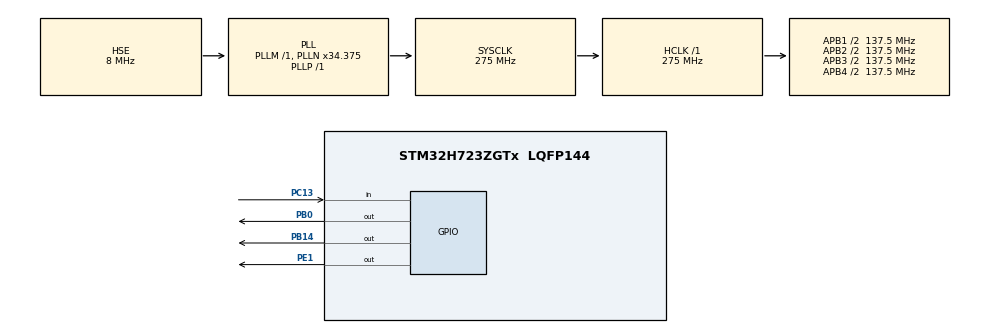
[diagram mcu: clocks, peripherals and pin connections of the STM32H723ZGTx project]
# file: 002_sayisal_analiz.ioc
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CORTEX_M7.default_mode_Activation=1
Mcu.Family=STM32H7
Mcu.Name=STM32H723ZGTx
Mcu.Package=LQFP144
NUCLEO-H723ZG.BUTTON=1
NUCLEO-H723ZG.LD1=true
NUCLEO-H723ZG.LD2=true
NUCLEO-H723ZG.LD3=true
NUCLEO-H723ZG.VCP=true
NVIC.EXTI15_10_IRQn=true\:0\:0\:false\:false\:true\:false\:true\:true
NVIC.PriorityGroup=NVIC_PRIORITYGROUP_4
PA13(JTMS/SWDIO).GPIO_Label=SWDIO
PA13(JTMS/SWDIO).Signal=DEBUG_JTMS-SWDIO
PA14(JTCK/SWCLK).GPIO_Label=SWCLK
PA14(JTCK/SWCLK).Signal=DEBUG_JTCK-SWCLK
PB0.Signal=GPIO_Output
PB14.Signal=GPIO_Output
PC13.Signal=GPIO_Input
PC14-OSC32_IN.Signal=RCC_OSC32_IN
PC15-OSC32_OUT.Signal=RCC_OSC32_OUT
PD8.Signal=USART3_TX
PD9.Signal=USART3_RX
PE1.Signal=GPIO_Output
PH0-OSC_IN.Mode=HSE-External-Oscillator
PH0-OSC_IN.Signal=RCC_OSC_IN
PH1-OSC_OUT.Mode=HSE-External-Oscillator
PH1-OSC_OUT.Signal=RCC_OSC_OUT
ProjectManager.HeapSize=0x200
ProjectManager.StackSize=0x400
ProjectManager.TargetToolchain=STM32CubeIDE
RCC.ADCFreq_Value=76000000
RCC.APB1Freq_Value=137500000
RCC.APB2Freq_Value=137500000
RCC.APB3Freq_Value=137500000
RCC.APB4Freq_Value=137500000
RCC.CortexFreq_Value=275000000
RCC.D1PPRE=RCC_APB3_DIV2
RCC.D2PPRE1=RCC_APB1_DIV2
RCC.D2PPRE2=RCC_APB2_DIV2
RCC.D3PPRE=RCC_APB4_DIV2
RCC.DIVM1=1
RCC.DIVM2=1
RCC.DIVN1=34
RCC.DIVN2=19
RCC.DIVP1=1
RCC.DIVQ1=4
RCC.HCLKFreq_Value=275000000
RCC.HSE_VALUE=8000000
RCC.PLLFRACN=3072
RCC.PLLSourceVirtual=RCC_PLLSOURCE_HSE
RCC.SYSCLKFreq_VALUE=275000000
RCC.SYSCLKSource=RCC_SYSCLKSOURCE_PLLCLK
RCC.USBCLockSelection=RCC_USBCLKSOURCE_HSI48
RCC.USBFreq_Value=48000000
VP_MEMORYMAP_VS_MEMORYMAP.Mode=CurAppReg
VP_NUCLEO-H723ZG_VS_BSP_COMMON.Mode=COMMON
board=NUCLEO-H723ZG

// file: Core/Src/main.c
/* USER CODE BEGIN Header */
/**
  ******************************************************************************
  * @file           : main.c
  * @brief          : Main program body
  ******************************************************************************
  * @attention
  *
  * Copyright (c) 2025 STMicroelectronics.
  * All rights reserved.
  *
  * This software is licensed under terms that can be found in the LICENSE file
  * in the root directory of this software component.
  * If no LICENSE file comes with this software, it is provided AS-IS.
  *
  ******************************************************************************
  */
/* USER CODE END Header */
#include "main.h"

/* USER CODE BEGIN Includes */
#include "math.h"

/* USER CODE END Includes */

COM_InitTypeDef BspCOMInit;

void SystemClock_Config(void);
static void MPU_Config(void);
static void MX_GPIO_Init(void);

/* USER CODE BEGIN 0 */
//Fizik sabitleri
#define G 9.81

// Başlangıç parametreleri
double v0 = 50.0;      // ilk hız (m/s)
double theta_deg = 75.0; // atış açısı (derece)
double y0x =10.00000;         // ilk yükseklik (m)

double to_radian(double deg) {
    return deg * M_PI / 180.0;
}

// Yükseklik fonksiyonu
double f(double t) {
    double theta = to_radian(theta_deg);
    return y0x + v0 * sin(theta) * t - 0.5 * G * t * t;
}

// Bisection Method with relative error
double bisection(double a, double b, double tol, int max_iter) {
    double c_old = 0.0, c_new = 0.0;
    double rel_error = 1.0;
    int iter = 0;

    if (f(a) * f(b) >= 0) {
        printf("Hata: f(a) ve f(b) zıt işaretli olmalı.\r\n");
        return 0.0;
    }

    while (rel_error > tol && iter < max_iter) {
        c_new = (a + b) / 2.0;

        if (iter > 0)
            rel_error = fabs((c_new - c_old) / c_new);

        if (f(c_new) == 0.0)
            break;

        if (f(a) * f(c_new) < 0)
            b = c_new;
        else
            a = c_new;

        c_old = c_new;
        iter++;
    }

    printf("Iterasyon: %d, Bagil Hata: %.8f\r\n", iter, rel_error);
    return c_new;
}

#define G 9.81

typedef struct {
    double x;
    double y;
    double vx;
    double vy;
} State;

// dx/dt
double dx_dt(State s) { return s.vx; }
// dy/dt
double dy_dt(State s) { return s.vy; }
// dvx/dt
double dvx_dt(State s) { return 0.0; }
// dvy/dt
double dvy_dt(State s) { return -G; }

int denemeRunge(void) {

    double dt = 0.01;        // zaman adımı
    int max_steps = 100000;

    double theta = theta_deg * M_PI / 180.0;

    State s;
    s.x = 0.0;
    s.y = y0x;
    s.vx = v0 * cosf(theta);
    s.vy = v0 * sinf(theta);

    int step = 0;

    while (s.y > 0 && step < max_steps) {
        State k1, k2, k3, k4, s_temp;

        // k1
        k1.x  = dx_dt(s);
        k1.y  = dy_dt(s);
        k1.vx = dvx_dt(s);
        k1.vy = dvy_dt(s);

        // k2
        s_temp.x  = s.x  + 0.5 * dt * k1.x;
        s_temp.y  = s.y  + 0.5 * dt * k1.y;
        s_temp.vx = s.vx + 0.5 * dt * k1.vx;
        s_temp.vy = s.vy + 0.5 * dt * k1.vy;

        k2.x  = dx_dt(s_temp);
        k2.y  = dy_dt(s_temp);
        k2.vx = dvx_dt(s_temp);
        k2.vy = dvy_dt(s_temp);

        // k3
        s_temp.x  = s.x  + 0.5 * dt * k2.x;
        s_temp.y  = s.y  + 0.5 * dt * k2.y;
        s_temp.vx = s.vx + 0.5 * dt * k2.vx;
        s_temp.vy = s.vy + 0.5 * dt * k2.vy;

        k3.x  = dx_dt(s_temp);
        k3.y  = dy_dt(s_temp);
        k3.vx = dvx_dt(s_temp);
        k3.vy = dvy_dt(s_temp);

        // k4
        s_temp.x  = s.x  + dt * k3.x;
        s_temp.y  = s.y  + dt * k3.y;
        s_temp.vx = s.vx + dt * k3.vx;
        s_temp.vy = s.vy + dt * k3.vy;

        k4.x  = dx_dt(s_temp);
        k4.y  = dy_dt(s_temp);
        k4.vx = dvx_dt(s_temp);
        k4.vy = dvy_dt(s_temp);

        // RK4
        s.x  += dt/6.0 * (k1.x + 2*k2.x + 2*k3.x + k4.x);
        s.y  += dt/6.0 * (k1.y + 2*k2.y + 2*k3.y + k4.y);
        s.vx += dt/6.0 * (k1.vx + 2*k2.vx + 2*k3.vx + k4.vx);
        s.vy += dt/6.0 * (k1.vy + 2*k2.vy + 2*k3.vy + k4.vy);

        step++;
    }

    printf("iterasyon: %d s\r\n", step);
    printf("Dusme sures: %.6f s\r\n", dt*step);
    printf("Dusme mesafesi: %.6f m\r\n", s.x);

return 0;
}
/* USER CODE END 0 */

int main(void)
{

  /* MPU Configuration--------------------------------------------------------*/
  MPU_Config();

  /* MCU Configuration--------------------------------------------------------*/

  /* Reset of all peripherals, Initializes the Flash interface and the Systick. */
  HAL_Init();

  /* Configure the system clock */
  SystemClock_Config();

  /* Initialize all configured peripherals */
  MX_GPIO_Init();

  /* Initialize leds */
  BSP_LED_Init(LED_GREEN);
  BSP_LED_Init(LED_YELLOW);
  BSP_LED_Init(LED_RED);

  /* Initialize USER push-button, will be used to trigger an interrupt each time it's pressed.*/
  BSP_PB_Init(BUTTON_USER, BUTTON_MODE_EXTI);

  /* Initialize COM1 port (115200, 8 bits (7-bit data + 1 stop bit), no parity */
  BspCOMInit.BaudRate   = 115200;
  BspCOMInit.WordLength = COM_WORDLENGTH_8B;
  BspCOMInit.StopBits   = COM_STOPBITS_1;
  BspCOMInit.Parity     = COM_PARITY_NONE;
  BspCOMInit.HwFlowCtl  = COM_HWCONTROL_NONE;
  if (BSP_COM_Init(COM1, &BspCOMInit) != BSP_ERROR_NONE)
  {
    Error_Handler();
  }
  double t_dusme = bisection(0.0,400, 1e-6, 100); // 0-5 saniye aralığında ara
  double theta = to_radian(theta_deg);

  double x_dusme = v0 * cos(theta) * t_dusme; // menzil
  printf("\r\n--- EGIK ATIS SONUCLARI ---\r\n");
  printf("\r\n--- Biscetion SONUCLARI ---\r\n");
  printf("\r\nDusme suresi: %.6f s\r\n", t_dusme);
  printf("\r\nDusme mesafesi: %.6f m\r\n", x_dusme);

  printf("\n--- Runge ---\n");
  denemeRunge();

  /* Infinite loop */
  while (1)
  {

  }
}

void SystemClock_Config(void)
{
  RCC_OscInitTypeDef RCC_OscInitStruct = {0};
  RCC_ClkInitTypeDef RCC_ClkInitStruct = {0};

  /** Supply configuration update enable
  */
  HAL_PWREx_ConfigSupply(PWR_LDO_SUPPLY);

  /** Configure the main internal regulator output voltage
  */
  __HAL_PWR_VOLTAGESCALING_CONFIG(PWR_REGULATOR_VOLTAGE_SCALE0);

  while(!__HAL_PWR_GET_FLAG(PWR_FLAG_VOSRDY)) {}

  /** Initializes the RCC Oscillators according to the specified parameters
  * in the RCC_OscInitTypeDef structure.
  */
  RCC_OscInitStruct.OscillatorType = RCC_OSCILLATORTYPE_HSE;
  RCC_OscInitStruct.HSEState = RCC_HSE_ON;
  RCC_OscInitStruct.PLL.PLLState = RCC_PLL_ON;
  RCC_OscInitStruct.PLL.PLLSource = RCC_PLLSOURCE_HSE;
  RCC_OscInitStruct.PLL.PLLM = 1;
  RCC_OscInitStruct.PLL.PLLN = 34;
  RCC_OscInitStruct.PLL.PLLP = 1;
  RCC_OscInitStruct.PLL.PLLQ = 4;
  RCC_OscInitStruct.PLL.PLLR = 2;
  RCC_OscInitStruct.PLL.PLLRGE = RCC_PLL1VCIRANGE_3;
  RCC_OscInitStruct.PLL.PLLVCOSEL = RCC_PLL1VCOWIDE;
  RCC_OscInitStruct.PLL.PLLFRACN = 3072;
  if (HAL_RCC_OscConfig(&RCC_OscInitStruct) != HAL_OK)
  {
    Error_Handler();
  }

  /** Initializes the CPU, AHB and APB buses clocks
  */
  RCC_ClkInitStruct.ClockType = RCC_CLOCKTYPE_HCLK|RCC_CLOCKTYPE_SYSCLK
                              |RCC_CLOCKTYPE_PCLK1|RCC_CLOCKTYPE_PCLK2
                              |RCC_CLOCKTYPE_D3PCLK1|RCC_CLOCKTYPE_D1PCLK1;
  RCC_ClkInitStruct.SYSCLKSource = RCC_SYSCLKSOURCE_PLLCLK;
  RCC_ClkInitStruct.SYSCLKDivider = RCC_SYSCLK_DIV1;
  RCC_ClkInitStruct.AHBCLKDivider = RCC_HCLK_DIV1;
  RCC_ClkInitStruct.APB3CLKDivider = RCC_APB3_DIV2;
  RCC_ClkInitStruct.APB1CLKDivider = RCC_APB1_DIV2;
  RCC_ClkInitStruct.APB2CLKDivider = RCC_APB2_DIV2;
  RCC_ClkInitStruct.APB4CLKDivider = RCC_APB4_DIV2;

  if (HAL_RCC_ClockConfig(&RCC_ClkInitStruct, FLASH_LATENCY_3) != HAL_OK)
  {
    Error_Handler();
  }
}

static void MX_GPIO_Init(void)
{

  /* GPIO Ports Clock Enable */
  __HAL_RCC_GPIOC_CLK_ENABLE();
  __HAL_RCC_GPIOH_CLK_ENABLE();
  __HAL_RCC_GPIOA_CLK_ENABLE();

}

 /* MPU Configuration */

void MPU_Config(void)
{
  MPU_Region_InitTypeDef MPU_InitStruct = {0};

  /* Disables the MPU */
  HAL_MPU_Disable();

  /** Initializes and configures the Region and the memory to be protected
  */
  MPU_InitStruct.Enable = MPU_REGION_ENABLE;
  MPU_InitStruct.Number = MPU_REGION_NUMBER0;
  MPU_InitStruct.BaseAddress = 0x0;
  MPU_InitStruct.Size = MPU_REGION_SIZE_4GB;
  MPU_InitStruct.SubRegionDisable = 0x87;
  MPU_InitStruct.TypeExtField = MPU_TEX_LEVEL0;
  MPU_InitStruct.AccessPermission = MPU_REGION_NO_ACCESS;
  MPU_InitStruct.DisableExec = MPU_INSTRUCTION_ACCESS_DISABLE;
  MPU_InitStruct.IsShareable = MPU_ACCESS_SHAREABLE;
  MPU_InitStruct.IsCacheable = MPU_ACCESS_NOT_CACHEABLE;
  MPU_InitStruct.IsBufferable = MPU_ACCESS_NOT_BUFFERABLE;

  HAL_MPU_ConfigRegion(&MPU_InitStruct);
  /* Enables the MPU */
  HAL_MPU_Enable(MPU_PRIVILEGED_DEFAULT);

}

void Error_Handler(void)
{
  __disable_irq();
  while (1)
  {
  }
}
